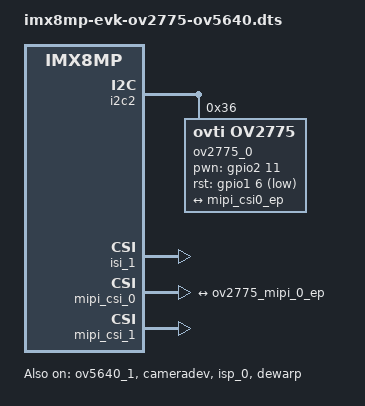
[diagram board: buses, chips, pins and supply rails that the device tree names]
// SPDX-License-Identifier: (GPL-2.0+ OR MIT)
/*
 * Copyright 2020 NXP
 *
 * This program is free software; you can redistribute it and/or
 * modify it under the terms of the GNU General Public License
 * as published by the Free Software Foundation; either version 2
 * of the License, or (at your option) any later version.
 *
 * This program is distributed in the hope that it will be useful,
 * but WITHOUT ANY WARRANTY; without even the implied warranty of
 * MERCHANTABILITY or FITNESS FOR A PARTICULAR PURPOSE.  See the
 * GNU General Public License for more details.
 */

#include "imx8mp-evk.dts"

&iomuxc {
	pinctrl_csi1_pwn: csi1_pwn_grp {
		fsl,pins = <
			MX8MP_IOMUXC_SAI1_RXC__GPIO4_IO01	0x19
		>;
	};

	pinctrl_csi1_rst: csi1_rst_grp {
		fsl,pins = <
			MX8MP_IOMUXC_SAI1_RXFS__GPIO4_IO00	0x19
		>;
	};
};

&i2c2 {
	/delete-node/ov5640_mipi@3c;

	ov2775_0: ov2775_mipi@36 {
		compatible = "ovti,ov2775";
		reg = <0x36>;
		pinctrl-names = "default";
		pinctrl-0 = <&pinctrl_csi0_pwn>, <&pinctrl_csi0_rst>;
		clocks = <&clk IMX8MP_CLK_IPP_DO_CLKO2>;
		clock-names = "csi_mclk";
		assigned-clocks = <&clk IMX8MP_CLK_IPP_DO_CLKO2>;
		assigned-clock-parents = <&clk IMX8MP_CLK_24M>;
		assigned-clock-rates = <24000000>;
		csi_id = <0>;
		pwn-gpios = <&gpio2 11 GPIO_ACTIVE_HIGH>;
		rst-gpios = <&gpio1 6 GPIO_ACTIVE_LOW>;
		mclk = <24000000>;
		mclk_source = <0>;
		status = "okay";

		port {
			ov2775_mipi_0_ep: endpoint {
				data-lanes = <1 2 3 4>;
				clock-lanes = <0>;
				max-pixel-frequency = /bits/ 64 <266000000>;
				remote-endpoint = <&mipi_csi0_ep>;
			};
		};

	};
};

&i2c3 {
	/delete-node/ov2775_mipi@36;
};

&ov5640_1 {
	pinctrl-0 = <&pinctrl_csi1_pwn>, <&pinctrl_csi1_rst>, <&pinctrl_csi_mclk>;

	status = "okay";
};

&cameradev {
	status = "okay";
};

&isi_0 {
	status = "disabled";
};

&isi_1 {
	status = "okay";
};

&isp_0 {
	status = "okay";
};

&dewarp {
	status = "okay";
};

&mipi_csi_0 {
	status = "okay";

	port {
		endpoint {
			remote-endpoint = <&ov2775_mipi_0_ep>;
			data-lanes = <4>;
			csis-hs-settle = <16>;
		};
	};
};

&mipi_csi_1 {
	status = "okay";
};
